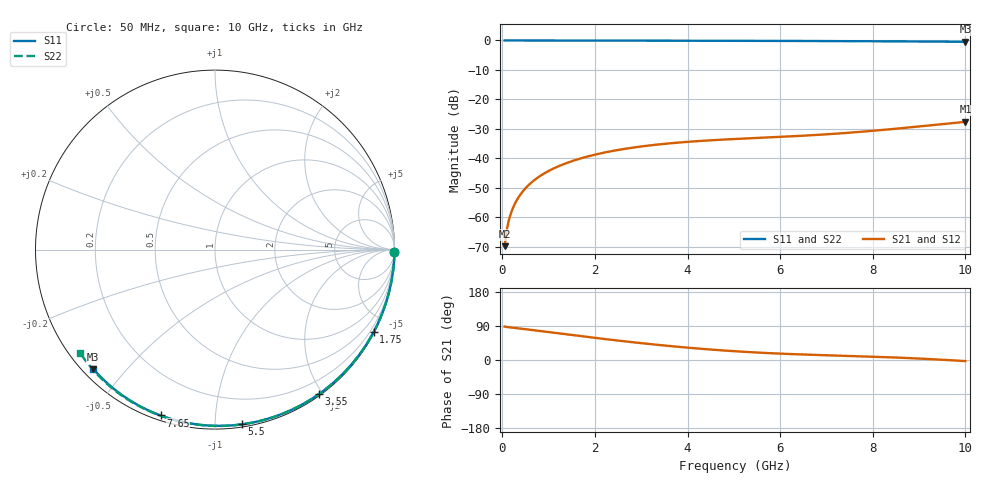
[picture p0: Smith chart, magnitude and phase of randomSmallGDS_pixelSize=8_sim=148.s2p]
! freq	dB(S11)	phase(S11)	dB(S12)	phase(S12)
!  dB(S21)	phase(S21)	dB(S22)	phase(S22)
!S-par simulation data
#  GHz  S  DB  R 50
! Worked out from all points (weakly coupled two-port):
!   200 points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, 50 MHz to 10 GHz, reference 50 ohm
!   highest |S21| = -27.63 dB at 10 GHz (marker M1); lowest = -69.9 dB at 50 MHz (marker M2)
!   lowest |S11| = -0.5 dB at 10 GHz (marker M3), VSWR 38.53, Z = 1.51 - j20.4 ohm
!   |S11| at or under -10 dB: nowhere
!   |S22| runs from -0.5 to 0.0 dB; largest |S21 - S12| = 0
!   S11 on the Smith chart (normalised r, x): 50 MHz: open; 1.75 GHz: 0.04, -4.10; 3.55 GHz: 0.02, -1.95; 5.5 GHz: 0.02, -1.17; 7.65 GHz: 0.02, -0.72; 10 GHz: 0.03, -0.41
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0.05  -0.00 -0.8  -69.86 88.3  -69.86 88.3  -0.00 -0.8
0.1  -0.00 -1.6  -63.94 87.1  -63.94 87.1  -0.00 -1.7
0.15  -0.00 -2.4  -60.50 86.3  -60.50 86.3  -0.00 -2.5
0.2  -0.00 -3.2  -58.05 85.6  -58.05 85.6  -0.00 -3.4
0.25  -0.00 -4.0  -56.15 84.9  -56.15 84.9  -0.00 -4.2
0.35  -0.00 -5.6  -53.27 83.5  -53.27 83.5  -0.00 -5.9
0.5  -0.01 -8.0  -50.21 81.3  -50.21 81.3  -0.01 -8.4
0.7  -0.01 -11.1  -47.34 78.3  -47.34 78.3  -0.01 -11.7
1  -0.02 -15.8  -44.33 73.6  -44.33 73.6  -0.02 -16.6
1.35  -0.03 -21.3  -41.85 68.2  -41.85 68.2  -0.03 -22.4
1.75  -0.04 -27.4  -39.80 62.1  -39.80 62.1  -0.04 -28.8
2.5  -0.05 -38.8  -37.19 51.2  -37.19 51.2  -0.05 -40.8
3.4  -0.07 -52.1  -35.27 39.4  -35.27 39.4  -0.07 -54.7
3.55  -0.07 -54.3  -35.03 37.6  -35.03 37.6  -0.08 -57.0
4.3  -0.09 -64.9  -34.10 29.5  -34.10 29.5  -0.10 -68.1
5.05  -0.12 -75.2  -33.44 22.9  -33.44 22.9  -0.12 -78.8
5.5  -0.13 -81.1  -33.10 19.7  -33.10 19.7  -0.14 -85.1
6.7  -0.19 -96.5  -32.16 13.7  -32.16 13.7  -0.19 -101.2
7.65  -0.24 -108.1  -31.14 10.2  -31.14 10.2  -0.25 -113.3
8.35  -0.29 -116.5  -30.19 7.3  -30.19 7.3  -0.31 -122.1
9.2  -0.37 -126.4  -28.90 2.6  -28.90 2.6  -0.39 -132.6
10  -0.45 -135.6  -27.63 -2.9  -27.63 -2.9  -0.47 -142.4
